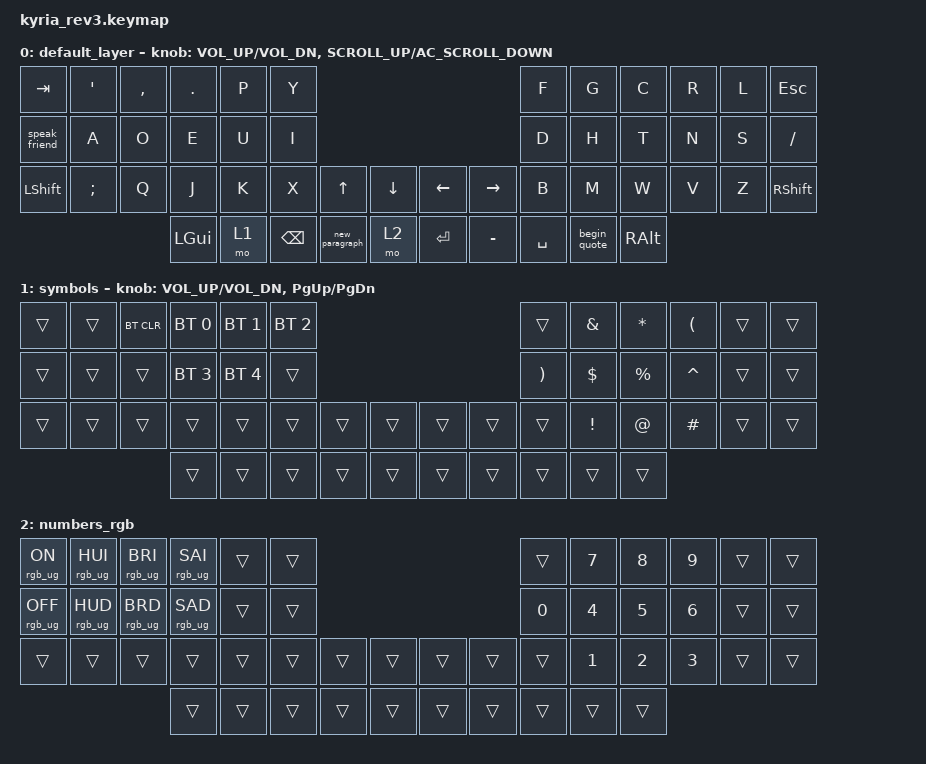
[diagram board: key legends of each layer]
/*
 * Copyright (c) 2023 The ZMK Contributors
 *
 * SPDX-License-Identifier: MIT
 */

#include <behaviors.dtsi>
#include <dt-bindings/zmk/bt.h>
#include <dt-bindings/zmk/keys.h>
#include <dt-bindings/zmk/rgb.h>

/* Uncomment this block if using RGB
&led_strip {
    chain-length = <6>;
    // chain-length = <31>; // Uncomment if using both per-key and underglow LEDs
    // chain-length = <25>; // Uncomment if using only per-key LEDs.
};
 */

/ {
    macros {
        speak_friend: speak_friend {
            compatible = "zmk,behavior-macro";
            #binding-cells = <0>;
            bindings = <&kp LS(C) &kp A &kp R &kp B &kp O &kp N &kp DLLR &kp DLLR &kp N0 &kp N5>;
            label = "SPEAK_FRIEND";
        };

        new_paragraph: new_paragraph {
            compatible = "zmk,behavior-macro";
            #binding-cells = <0>;
            bindings = <&kp ENTER &kp TAB>;
            label = "NEW_PARAGRAPH";
        };

        begin_quote: begin_quote {
            compatible = "zmk,behavior-macro";
            #binding-cells = <0>;
            bindings = <&kp ENTER &kp TAB &kp DOUBLE_QUOTES>;
            label = "BEGIN_QUOTE";
        };
    };

    keymap {
        compatible = "zmk,keymap";

        default_layer {
            // ---------------------------------------------------------------------------------------------------------------------------------
            // |  ESC  |  Q  |  W  |  E   |  R   |  T   |                                          |  Y   |  U    |  I    |  O   |   P   |   \  |
            // |  TAB  |  A  |  S  |  D   |  F   |  G   |                                          |  H   |  J    |  K    |  L   |   ;   |   '  |
            // | SHIFT |  Z  |  X  |  C   |  V   |  B   | L SHIFT | L SHIFT |  | LAYER 1 | L SHIFT |  N   |  M    |  ,    |  .   |   /   | CTRL |
            //                     | GUI  | DEL  | RET  |  SPACE  |   ESC   |  |   RET   |  SPACE  | TAB  | BSPC  | R-ALT |

            bindings = <
&kp TAB        &kp SQT        &kp COMMA  &kp PERIOD  &kp P  &kp Y                                                          &kp F      &kp G         &kp C     &kp R  &kp L  &kp ESCAPE
&speak_friend  &kp A          &kp O      &kp E       &kp U  &kp I                                                          &kp D      &kp H         &kp T     &kp N  &kp S  &kp FSLH
&kp LSHFT      &kp SEMICOLON  &kp Q      &kp J       &kp K  &kp X          &kp UP_ARROW    &kp DOWN  &kp LEFT   &kp RIGHT  &kp B      &kp M         &kp W     &kp V  &kp Z  &kp RIGHT_SHIFT
                                         &kp LGUI    &mo 1  &kp BACKSPACE  &new_paragraph  &mo 2     &kp ENTER  &kp MINUS  &kp SPACE  &begin_quote  &kp RALT
            >;

            sensor-bindings =
                <&inc_dec_kp C_VOL_UP C_VOL_DN>,
                <&inc_dec_kp K_SCROLL_UP C_AC_SCROLL_DOWN>;
        };

        symbols {
            // ---------------------------------------------------------------------------------------------------------------------------------
            // |       |      |BT_CLR|BTSEL0|BTSEL1|BTSEL2|                                         |      |      |      |      |      |      |
            // |       |      |      |BTSEL3|BTSEL4|      |                                         |      |      |      |      |      |      |
            // |       |      |      |      |      |      |      |      |      |      |      |      |      |      |      |      |      |      |
            //                       |      |      |      |      |      |      |      |      |      |      |      |      |

            bindings = <
&trans  &trans  &bt BT_CLR  &bt BT_SEL 0  &bt BT_SEL 1  &bt BT_SEL 2                                  &trans                 &kp AMPS    &kp ASTRK    &kp LEFT_PARENTHESIS  &trans  &trans
&trans  &trans  &trans      &bt BT_SEL 3  &bt BT_SEL 4  &trans                                        &kp RIGHT_PARENTHESIS  &kp DOLLAR  &kp PERCENT  &kp CARET             &trans  &trans
&trans  &trans  &trans      &trans        &trans        &trans        &trans  &trans  &trans  &trans  &trans                 &kp EXCL    &kp AT       &kp HASH              &trans  &trans
                            &trans        &trans        &trans        &trans  &trans  &trans  &trans  &trans                 &trans      &trans
            >;

            sensor-bindings = <&inc_dec_kp C_VOL_UP C_VOL_DN &inc_dec_kp PG_UP PG_DN>;
        };

        numbers_rgb {
            bindings = <
&rgb_ug RGB_ON   &rgb_ug RGB_HUI  &rgb_ug RGB_BRI  &rgb_ug RGB_SAI  &trans  &trans                                  &trans  &kp N7        &kp N8        &kp N9        &trans  &trans
&rgb_ug RGB_OFF  &rgb_ug RGB_HUD  &rgb_ug RGB_BRD  &rgb_ug RGB_SAD  &trans  &trans                                  &kp N0  &kp NUMBER_4  &kp N5        &kp NUMBER_6  &trans  &trans
&trans           &trans           &trans           &trans           &trans  &trans  &trans  &trans  &trans  &trans  &trans  &kp NUMBER_1  &kp NUMBER_2  &kp NUMBER_3  &trans  &trans
                                                   &trans           &trans  &trans  &trans  &trans  &trans  &trans  &trans  &trans        &trans
            >;
        };
    };
};
